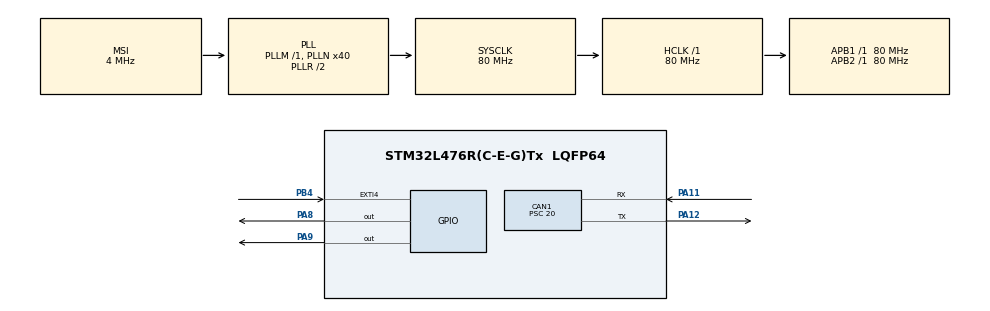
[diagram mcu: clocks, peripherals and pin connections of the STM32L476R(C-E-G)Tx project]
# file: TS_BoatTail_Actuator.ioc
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CAN1.BS1=CAN_BS1_13TQ
CAN1.BS2=CAN_BS2_2TQ
CAN1.CalculateTimeQuantum=250.0
CAN1.Prescaler=20
Mcu.Family=STM32L4
Mcu.Name=STM32L476R(C-E-G)Tx
Mcu.Package=LQFP64
NVIC.CAN1_RX0_IRQn=true\:1\:0\:true\:false\:true\:true\:true
NVIC.CAN1_TX_IRQn=true\:1\:0\:true\:false\:true\:true\:true
NVIC.EXTI4_IRQn=true\:0\:0\:false\:false\:true\:true\:true
NVIC.PriorityGroup=NVIC_PRIORITYGROUP_4
PA11.Mode=Master
PA11.Signal=CAN1_RX
PA12.Mode=Master
PA12.Signal=CAN1_TX
PA8.Signal=GPIO_Output
PA9.Signal=GPIO_Output
PB4\ (NJTRST).GPIO_ModeDefaultEXTI=GPIO_MODE_IT_RISING_FALLING
PB4\ (NJTRST).GPIO_PuPd=GPIO_PULLUP
PB4\ (NJTRST).Signal=GPXTI4
PH0-OSC_IN\ (PH0).Mode=HSE-External-Oscillator
PH0-OSC_IN\ (PH0).Signal=RCC_OSC_IN
PH1-OSC_OUT\ (PH1).Mode=HSE-External-Oscillator
PH1-OSC_OUT\ (PH1).Signal=RCC_OSC_OUT
ProjectManager.HeapSize=0x200
ProjectManager.StackSize=0x400
ProjectManager.TargetToolchain=STM32CubeIDE
RCC.ADCCLockSelection=RCC_ADCCLKSOURCE_PLLSAI2
RCC.ADCFreq_Value=16000000
RCC.AHBFreq_Value=80000000
RCC.APB1Freq_Value=80000000
RCC.APB1TimFreq_Value=80000000
RCC.APB2Freq_Value=80000000
RCC.APB2TimFreq_Value=80000000
RCC.CortexFreq_Value=80000000
RCC.HCLKFreq_Value=80000000
RCC.HSE_VALUE=8000000
RCC.HSI_VALUE=16000000
RCC.LSE_VALUE=32768
RCC.MSI_VALUE=4000000
RCC.PLLN=40
RCC.PLLSAI1N=16
RCC.PLLSAI2N=16
RCC.PLLSAI2R=RCC_PLLR_DIV4
RCC.SYSCLKFreq_VALUE=80000000
RCC.SYSCLKSource=RCC_SYSCLKSOURCE_PLLCLK
RCC.USBFreq_Value=32000000
RCC.VCOOutputFreq_Value=160000000
board=custom

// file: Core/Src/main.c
/* USER CODE BEGIN Header */
/**
  ******************************************************************************
  * @file           : main.c
  * @brief          : Main program body
  ******************************************************************************
  * @attention
  *
  * <h2><center>&copy; Copyright (c) 2020 STMicroelectronics.
  * All rights reserved.</center></h2>
  *
  * This software component is licensed by ST under BSD 3-Clause license,
  * the "License"; You may not use this file except in compliance with the
  * License. You may obtain a copy of the License at:
  *                        opensource.org/licenses/BSD-3-Clause
  *
  ******************************************************************************
  */
/* CODER BEWARE
 * The code contained within these scripts is managed in part by the STM32 Code Auto Generator
 * Any code that is not contained within sections that start with USER CODE START and end
 * in USER CODE END will be erased by the Code Auto Generator. Code can appear if deleted
 *  based on the Code Auto Generators settings. If the GPS stops working, try looking for GNSS_Process()
 *  in the main while loop of this script as it will appear automatically when the Code Auto Generation feature
 *  is used. This goes for all '.c' and '.h' files.*/
/* USER CODE END Header */
#include "main.h"

/* USER CODE BEGIN Includes */
#include <string.h>
/* USER CODE END Includes */

CAN_HandleTypeDef hcan1;

/* USER CODE BEGIN PV */
/* CAN Peripheral Data Struct Setup Start */
CAN_FilterTypeDef sFilterConfig;
CAN_TxHeaderTypeDef txHeader;
CAN_RxHeaderTypeDef rxHeader;

uint32_t txMailbox;
uint8_t txData[8];
uint8_t rxData[8];
/* CAN Peripheral Data Struct Setup End */
/* CAN Peripheral Messages Start */
const uint32_t holdMessage = 0x01;

const uint32_t retractionMessage = 0x02;

const uint32_t extensionMessage = 0x03;

const uint32_t masterStdId = 0x03;
const uint32_t masterExtId = 0x00;

const uint32_t boatTailStdId = 0x01;
const uint32_t boatTailExtId = 0x00;

const uint32_t heldMessage = 0x11;
/* CAN Peripheral Messages End */
/* USER CODE END PV */

void SystemClock_Config(void);
static void MX_GPIO_Init(void);
static void MX_CAN1_Init(void);

int main(void)
{

  /* MCU Configuration--------------------------------------------------------*/

  /* Reset of all peripherals, Initializes the Flash interface and the Systick. */
  HAL_Init();

  /* Configure the system clock */
  SystemClock_Config();

  /* Initialize all configured peripherals */
  MX_GPIO_Init();
  MX_CAN1_Init();
  /* USER CODE BEGIN 2 */
	/* CAN Peripheral Filter Setup Start */
		if (HAL_CAN_ConfigFilter(&hcan1, &sFilterConfig) != HAL_OK) {
			Error_Handler();
		}
		/* CAN Peripheral Filter Setup End */
		/* CAN Peripheral Activation Start */
		if (HAL_CAN_Start(&hcan1) != HAL_OK) {
			Error_Handler();
		}
		/* CAN Peripheral Activation End */
		/* CAN Peripheral Notification Activation Start */
		if (HAL_CAN_ActivateNotification(&hcan1,
				(CAN_IT_RX_FIFO0_MSG_PENDING | CAN_IT_TX_MAILBOX_EMPTY))
				!= HAL_OK) {
			Error_Handler();
		}
		/* CAN Peripheral Notification Activation End */
  /* USER CODE END 2 */

  /* Infinite loop */
  while (1){

  }
}

void SystemClock_Config(void)
{
  RCC_OscInitTypeDef RCC_OscInitStruct = {0};
  RCC_ClkInitTypeDef RCC_ClkInitStruct = {0};

  /** Initializes the RCC Oscillators according to the specified parameters
  * in the RCC_OscInitTypeDef structure.
  */
  RCC_OscInitStruct.OscillatorType = RCC_OSCILLATORTYPE_MSI;
  RCC_OscInitStruct.MSIState = RCC_MSI_ON;
  RCC_OscInitStruct.MSICalibrationValue = 0;
  RCC_OscInitStruct.MSIClockRange = RCC_MSIRANGE_6;
  RCC_OscInitStruct.PLL.PLLState = RCC_PLL_ON;
  RCC_OscInitStruct.PLL.PLLSource = RCC_PLLSOURCE_MSI;
  RCC_OscInitStruct.PLL.PLLM = 1;
  RCC_OscInitStruct.PLL.PLLN = 40;
  RCC_OscInitStruct.PLL.PLLP = RCC_PLLP_DIV7;
  RCC_OscInitStruct.PLL.PLLQ = RCC_PLLQ_DIV2;
  RCC_OscInitStruct.PLL.PLLR = RCC_PLLR_DIV2;
  if (HAL_RCC_OscConfig(&RCC_OscInitStruct) != HAL_OK)
  {
    Error_Handler();
  }
  /** Initializes the CPU, AHB and APB buses clocks
  */
  RCC_ClkInitStruct.ClockType = RCC_CLOCKTYPE_HCLK|RCC_CLOCKTYPE_SYSCLK
                              |RCC_CLOCKTYPE_PCLK1|RCC_CLOCKTYPE_PCLK2;
  RCC_ClkInitStruct.SYSCLKSource = RCC_SYSCLKSOURCE_PLLCLK;
  RCC_ClkInitStruct.AHBCLKDivider = RCC_SYSCLK_DIV1;
  RCC_ClkInitStruct.APB1CLKDivider = RCC_HCLK_DIV1;
  RCC_ClkInitStruct.APB2CLKDivider = RCC_HCLK_DIV1;

  if (HAL_RCC_ClockConfig(&RCC_ClkInitStruct, FLASH_LATENCY_4) != HAL_OK)
  {
    Error_Handler();
  }
  /** Configure the main internal regulator output voltage
  */
  if (HAL_PWREx_ControlVoltageScaling(PWR_REGULATOR_VOLTAGE_SCALE1) != HAL_OK)
  {
    Error_Handler();
  }
}

static void MX_CAN1_Init(void)
{

  hcan1.Instance = CAN1;
  hcan1.Init.Prescaler = 20;
  hcan1.Init.Mode = CAN_MODE_NORMAL;
  hcan1.Init.SyncJumpWidth = CAN_SJW_1TQ;
  hcan1.Init.TimeSeg1 = CAN_BS1_13TQ;
  hcan1.Init.TimeSeg2 = CAN_BS2_2TQ;
  hcan1.Init.TimeTriggeredMode = DISABLE;
  hcan1.Init.AutoBusOff = DISABLE;
  hcan1.Init.AutoWakeUp = DISABLE;
  hcan1.Init.AutoRetransmission = DISABLE;
  hcan1.Init.ReceiveFifoLocked = DISABLE;
  hcan1.Init.TransmitFifoPriority = DISABLE;
  if (HAL_CAN_Init(&hcan1) != HAL_OK)
  {
    Error_Handler();
  }
  /* USER CODE BEGIN CAN1_Init 2 */
  sFilterConfig.FilterBank=0;
  sFilterConfig.FilterMode=CAN_FILTERMODE_IDMASK;
  sFilterConfig.FilterScale = CAN_FILTERSCALE_32BIT;
  sFilterConfig.FilterIdHigh = 0x0000;
  sFilterConfig.FilterIdLow = 0x0000;
  sFilterConfig.FilterMaskIdHigh = 0x0000;
  sFilterConfig.FilterMaskIdLow = 0x0000;
  sFilterConfig.FilterFIFOAssignment = 0;
  sFilterConfig.FilterActivation = ENABLE;
  sFilterConfig.SlaveStartFilterBank = 14;
  /* USER CODE END CAN1_Init 2 */

}

static void MX_GPIO_Init(void)
{
  GPIO_InitTypeDef GPIO_InitStruct = {0};

  /* GPIO Ports Clock Enable */
  __HAL_RCC_GPIOH_CLK_ENABLE();
  __HAL_RCC_GPIOA_CLK_ENABLE();
  __HAL_RCC_GPIOB_CLK_ENABLE();

  /*Configure GPIO pin Output Level */
  HAL_GPIO_WritePin(GPIOA, GPIO_PIN_8|GPIO_PIN_9, GPIO_PIN_RESET);

  /*Configure GPIO pins : PA8 PA9 */
  GPIO_InitStruct.Pin = GPIO_PIN_8|GPIO_PIN_9;
  GPIO_InitStruct.Mode = GPIO_MODE_OUTPUT_PP;
  GPIO_InitStruct.Pull = GPIO_NOPULL;
  GPIO_InitStruct.Speed = GPIO_SPEED_FREQ_LOW;
  HAL_GPIO_Init(GPIOA, &GPIO_InitStruct);

  /*Configure GPIO pin : PB4 */
  GPIO_InitStruct.Pin = GPIO_PIN_4;
  GPIO_InitStruct.Mode = GPIO_MODE_IT_RISING_FALLING;
  GPIO_InitStruct.Pull = GPIO_PULLUP;
  HAL_GPIO_Init(GPIOB, &GPIO_InitStruct);

  /* EXTI interrupt init*/
  HAL_NVIC_SetPriority(EXTI4_IRQn, 0, 0);
  HAL_NVIC_EnableIRQ(EXTI4_IRQn);

}

/* USER CODE BEGIN 4 */
/* CAN Peripheral Receive Message Override Start */
void HAL_CAN_RxFifo0MsgPendingCallback(CAN_HandleTypeDef *hcan){

	if( HAL_CAN_GetRxMessage(hcan, CAN_RX_FIFO0, &rxHeader, rxData) != HAL_OK ){
		Error_Handler();
	}

	HAL_GPIO_WritePin(GPIOA, GPIO_PIN_8, GPIO_PIN_RESET);
	HAL_GPIO_WritePin(GPIOA, GPIO_PIN_9, GPIO_PIN_RESET);
	/* Display LEDx */

	if ((rxHeader.StdId == boatTailStdId || rxHeader.StdId == masterStdId)
			&& (rxHeader.IDE == CAN_ID_STD)
			&& (rxData[0] == retractionMessage)) {
		HAL_GPIO_WritePin(GPIOA, GPIO_PIN_8, GPIO_PIN_SET);

	}
	else if ((rxHeader.StdId == boatTailStdId || rxHeader.StdId == masterStdId)
			&& (rxHeader.IDE == CAN_ID_STD)
			&& (rxData[0] == extensionMessage)) {
		HAL_GPIO_WritePin(GPIOA, GPIO_PIN_9, GPIO_PIN_SET);
	}
}
/* CAN Peripheral Receive Message Override End */
/* CAN Peripheral Transfer Message Setup Start */
void Tx_Data_Setup(const uint32_t stdId, const uint32_t extId, const uint8_t message){
	  txHeader.StdId = stdId;
	  txHeader.ExtId = extId;
	  txHeader.RTR = CAN_RTR_DATA;
	  txHeader.IDE = CAN_ID_STD;
	  txHeader.DLC = 8;
	  txHeader.TransmitGlobalTime = DISABLE;

	  txData[0] = message;
}
/* CAN Peripheral Transfer Message Setup End */
/* USER CODE END 4 */

void Error_Handler(void)
{
  /* USER CODE BEGIN Error_Handler_Debug */
  /* Restarts the microcontroller */
	NVIC_SystemReset();
  /* USER CODE END Error_Handler_Debug */
}

/************************ (C) COPYRIGHT STMicroelectronics *****END OF FILE****/
